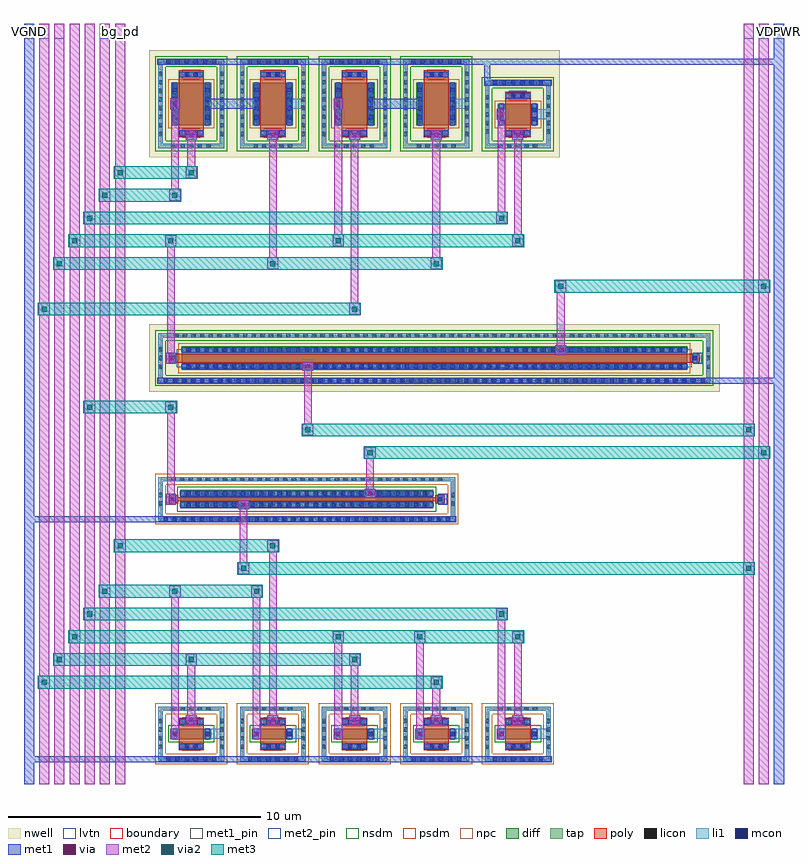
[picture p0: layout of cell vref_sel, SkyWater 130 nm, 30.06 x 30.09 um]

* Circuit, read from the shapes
.subckt vref_sel VDPWR VGND bg_pd en_buf pad ref_sel vref vref_oe
XM1 VGND ref_sel en_buf VGND sky130_fd_pr__nfet_01v8 w=0.42 l=1
XM2 vref sky130_fd_pr__nfet_01v8_R4QQLY_4/D pad VGND sky130_fd_pr__nfet_01v8 w=10 l=0.15
XM3 VGND bg_pd en_buf VGND sky130_fd_pr__nfet_01v8 w=0.42 l=1
XM4 VGND ref_sel sky130_fd_pr__nfet_01v8_R4QQLY_2/D VGND sky130_fd_pr__nfet_01v8 w=0.42 l=1
XM5 VGND vref_oe sky130_fd_pr__nfet_01v8_R4QQLY_2/D VGND sky130_fd_pr__nfet_01v8 w=0.42 l=1
XM6 VGND sky130_fd_pr__nfet_01v8_R4QQLY_2/D sky130_fd_pr__nfet_01v8_R4QQLY_4/D VGND sky130_fd_pr__nfet_01v8 w=0.42 l=1
XM7 sky130_fd_pr__pfet_01v8_EFWHNV_10/D bg_pd en_buf VDPWR sky130_fd_pr__pfet_01v8 w=1.68 l=1
XM8 vref sky130_fd_pr__nfet_01v8_R4QQLY_2/D pad VDPWR sky130_fd_pr__pfet_01v8_lvt w=20 l=0.35
XM9 VDPWR ref_sel sky130_fd_pr__pfet_01v8_EFWHNV_10/D VDPWR sky130_fd_pr__pfet_01v8 w=1.68 l=1
XM10 sky130_fd_pr__pfet_01v8_EFWHNV_8/D vref_oe sky130_fd_pr__nfet_01v8_R4QQLY_2/D VDPWR sky130_fd_pr__pfet_01v8 w=1.68 l=1
XM11 VDPWR ref_sel sky130_fd_pr__pfet_01v8_EFWHNV_8/D VDPWR sky130_fd_pr__pfet_01v8 w=1.68 l=1
XM12 VDPWR sky130_fd_pr__nfet_01v8_R4QQLY_2/D sky130_fd_pr__nfet_01v8_R4QQLY_4/D VDPWR sky130_fd_pr__pfet_01v8 w=0.84 l=1
.ends

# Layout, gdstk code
from math import pi, radians
import gdstk
lib = gdstk.Library(unit=1e-6, precision=1e-09)
def R(c, l, rs):  # rectangles x0, y0, x1, y1
    for r in rs: c.add(gdstk.rectangle(r[:2], r[2:], *l))
def A(c, l, x, y, w, h, nx, ny, dx, dy):  # array of equal rectangles
    R(c, l, [(x+i*dx, y+j*dy, x+i*dx+w, y+j*dy+h) for i in range(nx) for j in range(ny)])
nwell = (64, 20)
diff = (65, 20)
tap = (65, 44)
poly = (66, 20)
licon = (66, 44)
li1 = (67, 20)
mcon = (67, 44)
met1_pin = (68, 16)
met1 = (68, 20)
via = (68, 44)
met2_pin = (69, 16)
met2 = (69, 20)
via2 = (69, 44)
met3 = (70, 20)
nsdm = (93, 44)
psdm = (94, 20)
npc = (95, 20)
lvtn = (125, 44)
boundary = (235, 4)

sky130_fd_pr__nfet_01v8_ = lib.new_cell('sky130_fd_pr__nfet_01v8_R4QQLY')
R(sky130_fd_pr__nfet_01v8_, diff, [(-0.79,-0.21,0.79,0.21)])
R(sky130_fd_pr__nfet_01v8_, tap, [(-1.3,-1.08,1.3,-0.91), (-1.3,-0.91,-1.13,0.91), (1.13,-0.91,1.3,0.91), (-1.3,0.91,1.3,1.08)])
R(sky130_fd_pr__nfet_01v8_, poly, [(-0.5,-0.65,0.5,0.65)])
A(sky130_fd_pr__nfet_01v8_, licon, -0.765, -1.08, 0.17, 0.17, 5, 2, 0.34, 1.99)
A(sky130_fd_pr__nfet_01v8_, licon, -1.3, -0.595, 0.17, 0.17, 1, 4, 0, 0.34)
A(sky130_fd_pr__nfet_01v8_, licon, 1.13, -0.595, 0.17, 0.17, 1, 4, 0, 0.34)
R(sky130_fd_pr__nfet_01v8_, licon, [(-0.255,-0.57,-0.085,-0.4), (0.085,-0.57,0.255,-0.4), (-0.73,-0.085,-0.56,0.085), (0.56,-0.085,0.73,0.085), (-0.255,0.4,-0.085,0.57), (0.085,0.4,0.255,0.57)])
R(sky130_fd_pr__nfet_01v8_, li1, [(-1.3,-1.08,1.3,-0.91), (-1.3,-0.91,-1.13,0.91), (1.13,-0.91,1.3,0.91), (-0.5,-0.57,0.5,-0.4), (-0.73,-0.23,-0.56,0.23), (0.56,-0.23,0.73,0.23), (-0.5,0.4,0.5,0.57), (-1.3,0.91,1.3,1.08)])
A(sky130_fd_pr__nfet_01v8_, mcon, -0.985, -1.08, 0.17, 0.17, 6, 1, 0.36, 0)
R(sky130_fd_pr__nfet_01v8_, mcon, [(-0.265,-0.57,-0.095,-0.4), (0.095,-0.57,0.265,-0.4), (-0.73,-0.085,-0.56,0.085), (0.56,-0.085,0.73,0.085), (-0.265,0.4,-0.095,0.57), (0.095,0.4,0.265,0.57)])
R(sky130_fd_pr__nfet_01v8_, met1, [(-1.19,-1.11,1.19,-0.88), (-0.48,-0.6,0.48,-0.37), (-0.76,-0.21,-0.53,0.21), (0.53,-0.21,0.76,0.21), (-0.48,0.37,0.48,0.6)])
R(sky130_fd_pr__nfet_01v8_, nsdm, [(-0.915,-0.335,0.915,0.335)])
R(sky130_fd_pr__nfet_01v8_, psdm, [(-1.425,-1.205,1.425,-0.785), (-1.425,-0.785,-1.005,0.785), (1.005,-0.785,1.425,0.785), (-1.425,0.785,1.425,1.205)])
R(sky130_fd_pr__nfet_01v8_, npc, [(-0.355,-0.67,0.355,-0.3), (-0.355,0.3,0.355,0.67)])
R(sky130_fd_pr__nfet_01v8_, boundary, [(-1.215,-0.995,1.215,0.995)])
sky130_fd_pr__nfet_01v8_.add(gdstk.Label('B', (0,-0.995), layer=67, texttype=5))
sky130_fd_pr__nfet_01v8_.add(gdstk.Label('D', (-0.645,0), layer=67, texttype=5))
sky130_fd_pr__nfet_01v8_.add(gdstk.Label('S', (0.645,0), layer=67, texttype=5))
sky130_fd_pr__nfet_01v8_.add(gdstk.Label('G', (0,0.485), layer=67, texttype=5))

c_sky130_fd_pr__nfet_01v8_ = lib.new_cell('sky130_fd_pr__nfet_01v8_7WNHV5')
R(c_sky130_fd_pr__nfet_01v8_, diff, [(-0.365,-5,0.365,5)])
R(c_sky130_fd_pr__nfet_01v8_, tap, [(-0.875,-5.87,0.875,-5.7), (-0.875,-5.7,-0.705,5.7), (0.705,-5.7,0.875,5.7), (-0.875,5.7,0.875,5.87)])
R(c_sky130_fd_pr__nfet_01v8_, poly, [(-0.165,-5.44,0.165,-5.11), (-0.075,-5.11,0.075,5.11), (-0.165,5.11,0.165,5.44)])
A(c_sky130_fd_pr__nfet_01v8_, licon, -0.875, -5.355, 0.17, 0.17, 1, 32, 0, 0.34)
A(c_sky130_fd_pr__nfet_01v8_, licon, 0.705, -5.355, 0.17, 0.17, 1, 32, 0, 0.34)
A(c_sky130_fd_pr__nfet_01v8_, licon, -0.305, -4.845, 0.17, 0.17, 1, 29, 0, 0.34)
A(c_sky130_fd_pr__nfet_01v8_, licon, 0.135, -4.845, 0.17, 0.17, 1, 29, 0, 0.34)
R(c_sky130_fd_pr__nfet_01v8_, licon, [(-0.255,-5.87,-0.085,-5.7), (0.085,-5.87,0.255,-5.7), (-0.085,-5.36,0.085,-5.19), (-0.085,5.19,0.085,5.36), (-0.255,5.7,-0.085,5.87), (0.085,5.7,0.255,5.87)])
R(c_sky130_fd_pr__nfet_01v8_, li1, [(-0.875,-5.87,0.875,-5.7), (-0.875,-5.7,-0.705,5.7), (0.705,-5.7,0.875,5.7), (-0.165,-5.36,0.165,-5.19), (-0.305,-5.02,-0.135,5.02), (0.135,-5.02,0.305,5.02), (-0.165,5.19,0.165,5.36), (-0.875,5.7,0.875,5.87)])
A(c_sky130_fd_pr__nfet_01v8_, mcon, -0.875, -5.665, 0.17, 0.17, 1, 32, 0, 0.36)
A(c_sky130_fd_pr__nfet_01v8_, mcon, -0.305, -4.765, 0.17, 0.17, 1, 27, 0, 0.36)
A(c_sky130_fd_pr__nfet_01v8_, mcon, 0.135, -4.765, 0.17, 0.17, 1, 27, 0, 0.36)
R(c_sky130_fd_pr__nfet_01v8_, mcon, [(-0.085,-5.36,0.085,-5.19), (-0.085,5.19,0.085,5.36)])
R(c_sky130_fd_pr__nfet_01v8_, met1, [(-0.905,-5.76,-0.675,5.76), (-0.145,-5.39,0.145,-5.16), (-0.335,-5,-0.105,5), (0.105,-5,0.335,5), (-0.145,5.16,0.145,5.39)])
R(c_sky130_fd_pr__nfet_01v8_, nsdm, [(-0.49,-5.125,0.49,5.125)])
R(c_sky130_fd_pr__nfet_01v8_, psdm, [(-1,-5.995,1,-5.575), (-1,-5.575,-0.58,5.575), (0.58,-5.575,1,5.575), (-1,5.575,1,5.995)])
R(c_sky130_fd_pr__nfet_01v8_, npc, [(-0.185,-5.46,0.185,-5.09), (-0.185,5.09,0.185,5.46)])
R(c_sky130_fd_pr__nfet_01v8_, boundary, [(-0.79,-5.785,0.79,5.785)])
c_sky130_fd_pr__nfet_01v8_.add(gdstk.Label('B', (0,-5.785), layer=67, texttype=5))
c_sky130_fd_pr__nfet_01v8_.add(gdstk.Label('D', (-0.22,0), layer=67, texttype=5))
c_sky130_fd_pr__nfet_01v8_.add(gdstk.Label('S', (0.22,0), layer=67, texttype=5))
c_sky130_fd_pr__nfet_01v8_.add(gdstk.Label('G', (0,5.275), layer=67, texttype=5))

sky130_fd_pr__pfet_01v8_ = lib.new_cell('sky130_fd_pr__pfet_01v8_lvt_74DZ92')
R(sky130_fd_pr__pfet_01v8_, nwell, [(-1.155,-11.095,1.155,11.095)])
R(sky130_fd_pr__pfet_01v8_, diff, [(-0.465,-10,0.465,10)])
R(sky130_fd_pr__pfet_01v8_, tap, [(-0.975,-10.915,0.975,-10.745), (-0.975,-10.745,-0.805,10.745), (0.805,-10.745,0.975,10.745), (-0.975,10.745,0.975,10.915)])
R(sky130_fd_pr__pfet_01v8_, poly, [(-0.175,-10.485,0.175,10.485)])
A(sky130_fd_pr__pfet_01v8_, licon, -0.425, -10.915, 0.17, 0.17, 3, 2, 0.34, 21.66)
A(sky130_fd_pr__pfet_01v8_, licon, -0.975, -10.285, 0.17, 0.17, 1, 61, 0, 0.34)
A(sky130_fd_pr__pfet_01v8_, licon, 0.805, -10.285, 0.17, 0.17, 1, 61, 0, 0.34)
A(sky130_fd_pr__pfet_01v8_, licon, -0.405, -9.775, 0.17, 0.17, 1, 58, 0, 0.34)
A(sky130_fd_pr__pfet_01v8_, licon, 0.235, -9.775, 0.17, 0.17, 1, 58, 0, 0.34)
R(sky130_fd_pr__pfet_01v8_, licon, [(-0.085,-10.405,0.085,-10.235), (-0.085,10.235,0.085,10.405)])
R(sky130_fd_pr__pfet_01v8_, li1, [(-0.975,-10.915,0.975,-10.745), (-0.975,-10.745,-0.805,10.745), (0.805,-10.745,0.975,10.745), (-0.175,-10.405,0.175,-10.235), (-0.405,-10.02,-0.235,10.02), (0.235,-10.02,0.405,10.02), (-0.175,10.235,0.175,10.405), (-0.975,10.745,0.975,10.915)])
A(sky130_fd_pr__pfet_01v8_, mcon, -0.975, -10.705, 0.17, 0.17, 1, 60, 0, 0.36)
A(sky130_fd_pr__pfet_01v8_, mcon, -0.405, -9.805, 0.17, 0.17, 1, 55, 0, 0.36)
A(sky130_fd_pr__pfet_01v8_, mcon, 0.235, -9.805, 0.17, 0.17, 1, 55, 0, 0.36)
R(sky130_fd_pr__pfet_01v8_, mcon, [(-0.085,-10.405,0.085,-10.235), (-0.085,10.235,0.085,10.405)])
R(sky130_fd_pr__pfet_01v8_, met1, [(-1.005,-10.805,-0.775,10.805), (-0.155,-10.435,0.155,-10.205), (-0.435,-10,-0.205,10), (0.205,-10,0.435,10), (-0.155,10.205,0.155,10.435)])
R(sky130_fd_pr__pfet_01v8_, nsdm, [(-1.1,-11.04,1.1,-10.62), (-1.1,-10.62,-0.68,10.62), (0.68,-10.62,1.1,10.62), (-1.1,10.62,1.1,11.04)])
R(sky130_fd_pr__pfet_01v8_, psdm, [(-0.59,-10.125,0.59,10.125)])
R(sky130_fd_pr__pfet_01v8_, npc, [(-0.185,-10.505,0.185,-10.135), (-0.185,10.135,0.185,10.505)])
R(sky130_fd_pr__pfet_01v8_, lvtn, [(-0.355,-10.18,0.355,10.18)])
R(sky130_fd_pr__pfet_01v8_, boundary, [(-0.89,-10.83,0.89,10.83)])
sky130_fd_pr__pfet_01v8_.add(gdstk.Label('B', (0,-10.83), layer=67, texttype=5))
sky130_fd_pr__pfet_01v8_.add(gdstk.Label('D', (-0.32,0), layer=67, texttype=5))
sky130_fd_pr__pfet_01v8_.add(gdstk.Label('S', (0.32,0), layer=67, texttype=5))
sky130_fd_pr__pfet_01v8_.add(gdstk.Label('G', (0,10.32), layer=67, texttype=5))

c_sky130_fd_pr__pfet_01v8_ = lib.new_cell('sky130_fd_pr__pfet_01v8_LAH9QK')
R(c_sky130_fd_pr__pfet_01v8_, nwell, [(-1.48,-1.515,1.48,1.515)])
R(c_sky130_fd_pr__pfet_01v8_, diff, [(-0.79,-0.42,0.79,0.42)])
R(c_sky130_fd_pr__pfet_01v8_, tap, [(-1.3,-1.335,1.3,-1.165), (-1.3,-1.165,-1.13,1.165), (1.13,-1.165,1.3,1.165), (-1.3,1.165,1.3,1.335)])
R(c_sky130_fd_pr__pfet_01v8_, poly, [(-0.5,-0.905,0.5,0.905)])
A(c_sky130_fd_pr__pfet_01v8_, licon, -0.765, -1.335, 0.17, 0.17, 5, 2, 0.34, 2.5)
A(c_sky130_fd_pr__pfet_01v8_, licon, -1.3, -0.765, 0.17, 0.17, 1, 5, 0, 0.34)
A(c_sky130_fd_pr__pfet_01v8_, licon, 1.13, -0.765, 0.17, 0.17, 1, 5, 0, 0.34)
R(c_sky130_fd_pr__pfet_01v8_, licon, [(-0.255,-0.825,-0.085,-0.655), (0.085,-0.825,0.255,-0.655), (-0.73,-0.255,-0.56,-0.085), (0.56,-0.255,0.73,-0.085), (-0.73,0.085,-0.56,0.255), (0.56,0.085,0.73,0.255), (-0.255,0.655,-0.085,0.825), (0.085,0.655,0.255,0.825)])
R(c_sky130_fd_pr__pfet_01v8_, li1, [(-1.3,-1.335,1.3,-1.165), (-1.3,-1.165,-1.13,1.165), (1.13,-1.165,1.3,1.165), (-0.5,-0.825,0.5,-0.655), (-0.73,-0.44,-0.56,0.44), (0.56,-0.44,0.73,0.44), (-0.5,0.655,0.5,0.825), (-1.3,1.165,1.3,1.335)])
A(c_sky130_fd_pr__pfet_01v8_, mcon, -0.985, 1.165, 0.17, 0.17, 6, 1, 0.36, 0)
R(c_sky130_fd_pr__pfet_01v8_, mcon, [(-0.265,-0.825,-0.095,-0.655), (0.095,-0.825,0.265,-0.655), (-0.73,-0.265,-0.56,-0.095), (0.56,-0.265,0.73,-0.095), (-0.73,0.095,-0.56,0.265), (0.56,0.095,0.73,0.265), (-0.265,0.655,-0.095,0.825), (0.095,0.655,0.265,0.825)])
R(c_sky130_fd_pr__pfet_01v8_, met1, [(-0.48,-0.855,0.48,-0.625), (-0.76,-0.42,-0.53,0.42), (0.53,-0.42,0.76,0.42), (-0.48,0.625,0.48,0.855), (-1.19,1.135,1.19,1.365)])
R(c_sky130_fd_pr__pfet_01v8_, nsdm, [(-1.425,-1.46,1.425,-1.04), (-1.425,-1.04,-1.005,1.04), (1.005,-1.04,1.425,1.04), (-1.425,1.04,1.425,1.46)])
R(c_sky130_fd_pr__pfet_01v8_, psdm, [(-0.915,-0.545,0.915,0.545)])
R(c_sky130_fd_pr__pfet_01v8_, npc, [(-0.355,-0.925,0.355,-0.555), (-0.355,0.555,0.355,0.925)])
R(c_sky130_fd_pr__pfet_01v8_, boundary, [(-1.215,-1.25,1.215,1.25)])
c_sky130_fd_pr__pfet_01v8_.add(gdstk.Label('B', (0,-1.25), layer=67, texttype=5))
c_sky130_fd_pr__pfet_01v8_.add(gdstk.Label('D', (-0.645,0), layer=67, texttype=5))
c_sky130_fd_pr__pfet_01v8_.add(gdstk.Label('S', (0.645,0), layer=67, texttype=5))
c_sky130_fd_pr__pfet_01v8_.add(gdstk.Label('G', (0,0.74), layer=67, texttype=5))

c_sky130_fd_pr__pfet_01v8__ = lib.new_cell('sky130_fd_pr__pfet_01v8_EFWHNV')
R(c_sky130_fd_pr__pfet_01v8__, nwell, [(-1.48,-1.935,1.48,1.935)])
R(c_sky130_fd_pr__pfet_01v8__, diff, [(-0.79,-0.84,0.79,0.84)])
R(c_sky130_fd_pr__pfet_01v8__, tap, [(-1.3,-1.755,1.3,-1.585), (-1.3,-1.585,-1.13,1.585), (1.13,-1.585,1.3,1.585), (-1.3,1.585,1.3,1.755)])
R(c_sky130_fd_pr__pfet_01v8__, poly, [(-0.5,-1.325,0.5,1.325)])
A(c_sky130_fd_pr__pfet_01v8__, licon, -0.765, -1.755, 0.17, 0.17, 5, 2, 0.34, 3.34)
A(c_sky130_fd_pr__pfet_01v8__, licon, -1.3, -1.275, 0.17, 0.17, 1, 8, 0, 0.34)
A(c_sky130_fd_pr__pfet_01v8__, licon, 1.13, -1.275, 0.17, 0.17, 1, 8, 0, 0.34)
A(c_sky130_fd_pr__pfet_01v8__, licon, -0.73, -0.765, 0.17, 0.17, 1, 5, 0, 0.34)
A(c_sky130_fd_pr__pfet_01v8__, licon, 0.56, -0.765, 0.17, 0.17, 1, 5, 0, 0.34)
R(c_sky130_fd_pr__pfet_01v8__, licon, [(-0.255,-1.245,-0.085,-1.075), (0.085,-1.245,0.255,-1.075), (-0.255,1.075,-0.085,1.245), (0.085,1.075,0.255,1.245)])
R(c_sky130_fd_pr__pfet_01v8__, li1, [(-1.3,-1.755,1.3,-1.585), (-1.3,-1.585,-1.13,1.585), (1.13,-1.585,1.3,1.585), (-0.5,-1.245,0.5,-1.075), (-0.73,-0.86,-0.56,0.86), (0.56,-0.86,0.73,0.86), (-0.5,1.075,0.5,1.245), (-1.3,1.585,1.3,1.755)])
A(c_sky130_fd_pr__pfet_01v8__, mcon, -0.73, -0.625, 0.17, 0.17, 1, 4, 0, 0.36)
A(c_sky130_fd_pr__pfet_01v8__, mcon, 0.56, -0.625, 0.17, 0.17, 1, 4, 0, 0.36)
A(c_sky130_fd_pr__pfet_01v8__, mcon, -0.985, 1.585, 0.17, 0.17, 6, 1, 0.36, 0)
R(c_sky130_fd_pr__pfet_01v8__, mcon, [(-0.265,-1.245,-0.095,-1.075), (0.095,-1.245,0.265,-1.075), (-0.265,1.075,-0.095,1.245), (0.095,1.075,0.265,1.245)])
R(c_sky130_fd_pr__pfet_01v8__, met1, [(-0.48,-1.275,0.48,-1.045), (-0.76,-0.84,-0.53,0.84), (0.53,-0.84,0.76,0.84), (-0.48,1.045,0.48,1.275), (-1.19,1.555,1.19,1.785)])
R(c_sky130_fd_pr__pfet_01v8__, nsdm, [(-1.425,-1.88,1.425,-1.46), (-1.425,-1.46,-1.005,1.46), (1.005,-1.46,1.425,1.46), (-1.425,1.46,1.425,1.88)])
R(c_sky130_fd_pr__pfet_01v8__, psdm, [(-0.915,-0.965,0.915,0.965)])
R(c_sky130_fd_pr__pfet_01v8__, npc, [(-0.355,-1.345,0.355,-0.975), (-0.355,0.975,0.355,1.345)])
R(c_sky130_fd_pr__pfet_01v8__, boundary, [(-1.215,-1.67,1.215,1.67)])
c_sky130_fd_pr__pfet_01v8__.add(gdstk.Label('B', (0,-1.67), layer=67, texttype=5))
c_sky130_fd_pr__pfet_01v8__.add(gdstk.Label('D', (-0.645,0), layer=67, texttype=5))
c_sky130_fd_pr__pfet_01v8__.add(gdstk.Label('S', (0.645,0), layer=67, texttype=5))
c_sky130_fd_pr__pfet_01v8__.add(gdstk.Label('G', (0,1.16), layer=67, texttype=5))

vref_sel = lib.new_cell('vref_sel')
R(vref_sel, nwell, [(-0.45,14.52,22.11,17.2), (-0.45,23.8,15.8,28.04)])
A(vref_sel, li1, 1.775, 0.795, 0.74, 0.4, 5, 1, 3.23, 0)
R(vref_sel, li1, [(14.695,25.3,15.435,25.7), (5.005,25.72,5.745,26.12), (11.465,25.72,12.205,26.12)])
R(vref_sel, met1_pin, [(-5.4,28.49,-5,29.09), (24.26,28.49,24.66,29.09)])
A(vref_sel, met1, 0.385, 0.78, 0.37, 0.43, 5, 1, 3.23, 0)
A(vref_sel, met1, 1, 1.365, 0.43, 0.37, 5, 2, 3.23, 23.14)
R(vref_sel, met1, [(-5.4,-1,-5,-0.12), (24.26,-1,24.66,14.85), (-5.4,-0.12,15.47,0.12), (-5.4,0.12,-5,9.37), (-5.4,9.37,11.69,9.61), (-5.4,9.61,-5,29.09), (3.07,9.875,3.5,10.245), (0.225,10.065,0.595,10.495), (10.975,10.065,11.345,10.495), (8.07,10.315,8.5,10.685), (-0.12,14.85,24.66,15.09), (24.26,15.09,24.66,27.47), (5.615,15.355,6.045,15.725), (0.225,15.645,0.595,16.075), (21.065,15.645,21.435,16.075), (15.615,15.995,16.045,16.365), (13.305,25.285,13.675,25.715), (0.385,25.705,0.755,26.135), (6.845,25.705,7.215,26.135), (1.74,25.72,3.92,26.12), (8.2,25.72,10.38,26.12), (12.8,26.63,15.47,26.87), (12.8,26.87,13.04,27.47), (-0.12,27.47,24.66,27.71), (24.26,27.71,24.66,29.09)])
A(vref_sel, via, 0.495, 0.92, 0.15, 0.15, 5, 1, 3.23, 0)
A(vref_sel, via, 1.14, 1.475, 0.15, 0.15, 5, 2, 3.23, 23.14)
R(vref_sel, via, [(3.21,9.985,3.36,10.135), (0.335,10.205,0.485,10.355), (8.21,10.425,8.36,10.575), (5.755,15.465,5.905,15.615), (0.335,15.785,0.485,15.935), (15.755,16.105,15.905,16.255), (13.415,25.425,13.565,25.575), (0.495,25.845,0.645,25.995), (6.955,25.845,7.105,25.995)])
R(vref_sel, met2_pin, [(-4.8,28.49,-4.4,29.09), (-4.2,28.49,-3.8,29.09), (-2.4,28.49,-2,29.09), (-1.8,28.49,-1.4,29.09), (23.06,28.49,23.46,29.09), (23.66,28.49,24.06,29.09)])
A(vref_sel, met2, 0.385, 0.78, 0.37, 0.43, 5, 1, 3.23, 0)
A(vref_sel, met2, 1, 1.365, 0.43, 0.37, 5, 2, 3.23, 23.14)
R(vref_sel, met2, [(-4.8,-1,-4.4,2.82), (-4.2,-1,-3.8,3.72), (-3.6,-1,-3.2,4.62), (-3,-1,-2.6,5.52), (-2.4,-1,-2,6.42), (-1.8,-1,-1.4,8.22), (23.06,-1,23.46,7.32), (23.66,-1,24.06,11.9), (0.42,1.21,0.72,6.42), (3.65,1.21,3.95,6.42), (6.88,1.21,7.18,4.62), (10.11,1.21,10.41,4.62), (13.34,1.21,13.64,5.52), (1.065,1.735,1.365,3.72), (4.295,1.735,4.595,8.22), (7.525,1.735,7.825,3.72), (10.755,1.735,11.055,2.82), (13.985,1.735,14.285,4.62), (-4.82,2.82,-4.38,3.26), (10.685,2.82,11.125,3.26), (-4.8,3.26,-4.4,17.58), (-4.22,3.72,-3.78,4.16), (0.995,3.72,1.435,4.16), (7.455,3.72,7.895,4.16), (-4.2,4.16,-3.8,19.38), (-3.62,4.62,-3.18,5.06), (6.81,4.62,7.25,5.06), (10.04,4.62,10.48,5.06), (13.915,4.62,14.355,5.06), (-3.6,5.06,-3.2,20.28), (-3.02,5.52,-2.58,5.96), (13.27,5.52,13.71,5.96), (-3,5.96,-2.6,13.7), (-2.42,6.42,-1.98,6.86), (0.35,6.42,0.79,6.86), (3.58,6.42,4.02,6.86), (-2.4,6.86,-2,22.08), (3.065,7.32,3.505,7.76), (23.04,7.32,23.48,7.76), (3.135,7.76,3.435,9.875), (23.06,7.76,23.46,12.8), (-1.82,8.22,-1.38,8.66), (4.225,8.22,4.665,8.66), (-1.8,8.66,-1.4,22.98), (3.07,9.875,3.5,10.245), (0.225,10.065,0.595,10.495), (8.07,10.315,8.5,10.685), (0.26,10.495,0.56,13.7), (8.135,10.685,8.435,11.9), (8.065,11.9,8.505,12.34), (23.64,11.9,24.08,12.34), (23.66,12.34,24.06,18.48), (5.61,12.8,6.05,13.24), (23.04,12.8,23.48,13.24), (5.68,13.24,5.98,15.355), (23.06,13.24,23.46,29.09), (-3.02,13.7,-2.58,14.14), (0.19,13.7,0.63,14.14), (-3,14.14,-2.6,21.18), (5.615,15.355,6.045,15.725), (0.225,15.645,0.595,16.075), (15.615,15.995,16.045,16.365), (0.26,16.075,0.56,20.28), (15.68,16.365,15.98,18.48), (-4.82,17.58,-4.38,18.02), (7.455,17.58,7.895,18.02), (-4.8,18.02,-4.4,29.09), (7.525,18.02,7.825,24.505), (15.61,18.48,16.05,18.92), (23.64,18.48,24.08,18.92), (23.66,18.92,24.06,29.09), (-4.22,19.38,-3.78,19.82), (4.225,19.38,4.665,19.82), (10.685,19.38,11.125,19.82), (-4.2,19.82,-3.8,29.09), (4.295,19.82,4.595,24.505), (10.755,19.82,11.055,24.505), (-3.62,20.28,-3.18,20.72), (0.19,20.28,0.63,20.72), (6.81,20.28,7.25,20.72), (13.915,20.28,14.355,20.72), (-3.6,20.72,-3.2,29.09), (6.88,20.72,7.18,25.705), (13.985,20.72,14.285,24.505), (-3.02,21.18,-2.58,21.62), (13.27,21.18,13.71,21.62), (-3,21.62,-2.6,29.09), (13.34,21.62,13.64,25.285), (-2.42,22.08,-1.98,22.52), (0.35,22.08,0.79,22.52), (-2.4,22.52,-2,29.09), (0.42,22.52,0.72,25.705), (-1.82,22.98,-1.38,23.42), (0.995,22.98,1.435,23.42), (-1.8,23.42,-1.4,29.09), (1.065,23.42,1.365,24.505), (13.305,25.285,13.675,25.715), (0.385,25.705,0.755,26.135), (6.845,25.705,7.215,26.135)])
R(vref_sel, via2, [(-4.7,2.94,-4.5,3.14), (10.805,2.94,11.005,3.14), (-4.1,3.84,-3.9,4.04), (1.115,3.84,1.315,4.04), (7.575,3.84,7.775,4.04), (-3.5,4.74,-3.3,4.94), (6.93,4.74,7.13,4.94), (10.16,4.74,10.36,4.94), (14.035,4.74,14.235,4.94), (-2.9,5.64,-2.7,5.84), (13.39,5.64,13.59,5.84), (-2.3,6.54,-2.1,6.74), (0.47,6.54,0.67,6.74), (3.7,6.54,3.9,6.74), (3.185,7.44,3.385,7.64), (23.16,7.44,23.36,7.64), (-1.7,8.34,-1.5,8.54), (4.345,8.34,4.545,8.54), (8.185,12.02,8.385,12.22), (23.76,12.02,23.96,12.22), (5.73,12.92,5.93,13.12), (23.16,12.92,23.36,13.12), (-2.9,13.82,-2.7,14.02), (0.31,13.82,0.51,14.02), (-4.7,17.7,-4.5,17.9), (7.575,17.7,7.775,17.9), (15.73,18.6,15.93,18.8), (23.76,18.6,23.96,18.8), (-4.1,19.5,-3.9,19.7), (4.345,19.5,4.545,19.7), (10.805,19.5,11.005,19.7), (-3.5,20.4,-3.3,20.6), (0.31,20.4,0.51,20.6), (6.93,20.4,7.13,20.6), (14.035,20.4,14.235,20.6), (-2.9,21.3,-2.7,21.5), (13.39,21.3,13.59,21.5), (-2.3,22.2,-2.1,22.4), (0.47,22.2,0.67,22.4), (-1.7,23.1,-1.5,23.3), (1.115,23.1,1.315,23.3)])
R(vref_sel, met3, [(-4.85,2.79,11.155,3.29), (-4.25,3.69,7.925,4.19), (-3.65,4.59,14.385,5.09), (-3.05,5.49,13.74,5.99), (-2.45,6.39,4.05,6.89), (3.035,7.29,23.51,7.79), (-1.85,8.19,4.695,8.69), (8.035,11.87,24.11,12.37), (5.58,12.77,23.51,13.27), (-3.05,13.67,0.66,14.17), (-4.85,17.55,7.925,18.05), (15.58,18.45,24.11,18.95), (-4.25,19.35,11.155,19.85), (-3.65,20.25,14.385,20.75), (-3.05,21.15,13.74,21.65), (-2.45,22.05,0.82,22.55), (-1.85,22.95,1.465,23.45)])
vref_sel.add(gdstk.Reference(sky130_fd_pr__nfet_01v8_, (1.215,0.995)))
vref_sel.add(gdstk.Reference(sky130_fd_pr__nfet_01v8_, (4.445,0.995)))
vref_sel.add(gdstk.Reference(sky130_fd_pr__nfet_01v8_, (7.675,0.995)))
vref_sel.add(gdstk.Reference(sky130_fd_pr__nfet_01v8_, (10.905,0.995)))
vref_sel.add(gdstk.Reference(sky130_fd_pr__nfet_01v8_, (14.135,0.995)))
vref_sel.add(gdstk.Reference(c_sky130_fd_pr__nfet_01v8_, (5.785,10.28), rotation=pi/2))
vref_sel.add(gdstk.Reference(sky130_fd_pr__pfet_01v8_, (10.83,15.86), rotation=pi/2))
vref_sel.add(gdstk.Reference(c_sky130_fd_pr__pfet_01v8_, (14.135,25.5)))
vref_sel.add(gdstk.Reference(c_sky130_fd_pr__pfet_01v8__, (10.905,25.92)))
vref_sel.add(gdstk.Reference(c_sky130_fd_pr__pfet_01v8__, (1.215,25.92)))
vref_sel.add(gdstk.Reference(c_sky130_fd_pr__pfet_01v8__, (4.445,25.92)))
vref_sel.add(gdstk.Reference(c_sky130_fd_pr__pfet_01v8__, (7.675,25.92)))
vref_sel.add(gdstk.Label('VGND', (-5.2,28.79), layer=68, texttype=5))
vref_sel.add(gdstk.Label('VDPWR', (24.46,28.79), layer=68, texttype=5))
vref_sel.add(gdstk.Label('bg_pd', (-1.6,28.79), layer=69, texttype=5))
vref_sel.add(gdstk.Label('en_buf', (-2.2,28.79), layer=69, texttype=5))
vref_sel.add(gdstk.Label('ref_sel', (-4,28.79), layer=69, texttype=5))
vref_sel.add(gdstk.Label('vref_oe', (-4.6,28.79), layer=69, texttype=5))
vref_sel.add(gdstk.Label('pad', (23.26,28.79), layer=69, texttype=5))
vref_sel.add(gdstk.Label('vref', (23.86,28.79), layer=69, texttype=5))

lib.write_gds('vref_sel.gds')
